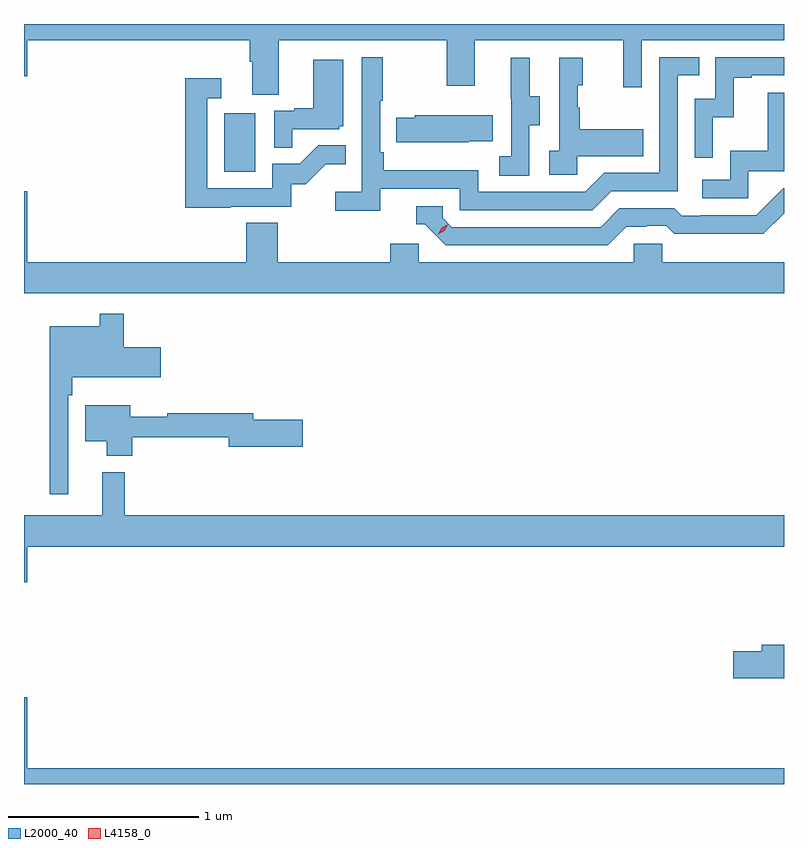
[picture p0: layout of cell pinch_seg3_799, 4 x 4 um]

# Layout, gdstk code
import gdstk
lib = gdstk.Library(unit=1e-6, precision=1e-09)
def R(c, l, rs):  # rectangles x0, y0, x1, y1
    for r in rs: c.add(gdstk.rectangle(r[:2], r[2:], *l))
def P(c, l, *ps):  # polygons
    for p in ps: c.add(gdstk.Polygon(p, *l))
L2000_40 = (2000, 40)
L4158_0 = (4158, 0)

pinch_seg3_799 = lib.new_cell('pinch_seg3_799')
R(pinch_seg3_799, L2000_40, [(861.512,717.54,861.676,717.847)])
P(pinch_seg3_799, L2000_40, [(861.799,718.232),(862.684,718.232),(862.684,717.993),(862.831,717.993),(862.831,718.232),(863.612,718.232),(863.612,717.984),(863.709,717.984),(863.709,718.232),(864.458,718.232),(864.458,718.318),(860.458,718.318),(860.458,718.044),(860.476,718.044),(860.476,718.232),(861.647,718.232),(861.647,718.12),(861.659,718.12),(861.659,717.946),(861.799,717.946)],
  [(862.334,717.45),(862.752,717.45),(862.752,717.339),(863.449,717.339),(863.548,717.438),(863.898,717.438),(863.898,718.047),(864.011,718.047),(864.011,718.143),(863.802,718.143),(863.802,717.534),(863.511,717.534),(863.412,717.435),(862.848,717.435),(862.848,717.547),(862.352,717.547),(862.352,717.643),(862.332,717.643),(862.332,717.913),(862.345,717.913),(862.345,718.144),(862.236,718.144),(862.236,717.436),(862.095,717.436),(862.095,717.334),(862.334,717.334)],
  [(864.084,717.827),(864.194,717.827),(864.194,718.035),(864.289,718.035),(864.289,718.047),(864.458,718.047),(864.458,718.143),(864.096,718.143),(864.096,717.924),(863.988,717.924),(863.988,717.615),(864.084,717.615)],
  [(863.118,717.784),(863.173,717.784),(863.173,717.939),(863.119,717.939),(863.119,718.141),(863.021,718.141),(863.021,717.927),(863.022,717.927),(863.022,717.623),(862.959,717.623),(862.959,717.52),(863.118,717.52)],
  [(863.37,717.623),(863.717,717.623),(863.717,717.763),(863.383,717.763),(863.383,717.878),(863.373,717.878),(863.373,717.996),(863.398,717.996),(863.398,718.141),(863.274,718.141),(863.274,717.65),(863.223,717.65),(863.223,717.525),(863.37,717.525)],
  [(861.869,717.765),(862.116,717.765),(862.116,717.78),(862.138,717.78),(862.138,718.129),(861.98,718.129),(861.98,717.874),(861.881,717.874),(861.881,717.861),(861.774,717.861),(861.774,717.667),(861.869,717.667)],
  [(861.545,717.357),(861.864,717.357),(861.864,717.474),(861.94,717.474),(862.047,717.581),(862.151,717.581),(862.151,717.68),(862.007,717.68),(861.909,717.582),(861.765,717.582),(861.765,717.453),(861.423,717.453),(861.423,717.927),(861.496,717.927),(861.496,718.033),(861.307,718.033),(861.307,717.352),(861.545,717.352)],
  [(864.27,717.543),(864.458,717.543),(864.458,717.955),(864.373,717.955),(864.373,717.652),(864.174,717.652),(864.174,717.498),(864.027,717.498),(864.027,717.402),(864.27,717.402)],
  [(862.8,717.701),(862.925,717.701),(862.925,717.838),(862.515,717.838),(862.515,717.825),(862.417,717.825),(862.417,717.695),(862.8,717.695)],
  [(863.629,717.252),(863.736,717.252),(863.736,717.255),(863.839,717.255),(863.881,717.213),(864.114,717.213),(864.114,717.215),(864.35,717.215),(864.458,717.323),(864.458,717.453),(864.453,717.453),(864.312,717.312),(864.019,717.312),(864.019,717.309),(863.92,717.309),(863.881,717.348),(863.592,717.348),(863.493,717.249),(862.71,717.249),(862.662,717.297),(862.662,717.36),(862.523,717.36),(862.523,717.264),(862.566,717.264),(862.677,717.153),(863.53,717.153)],
  [(864.458,717.064),(863.817,717.064),(863.817,717.162),(863.667,717.162),(863.667,717.064),(862.536,717.064),(862.536,717.162),(862.385,717.162),(862.385,717.064),(861.794,717.064),(861.794,717.272),(861.629,717.272),(861.629,717.064),(860.476,717.064),(860.476,717.439),(860.458,717.439),(860.458,716.9),(864.458,716.9)],
  [(860.691,716.363),(860.711,716.363),(860.711,716.459),(861.178,716.459),(861.178,716.617),(860.984,716.617),(860.984,716.794),(860.856,716.794),(860.856,716.728),(860.594,716.728),(860.594,715.842),(860.691,715.842)],
  [(861.029,716.142),(861.536,716.142),(861.536,716.092),(861.925,716.092),(861.925,716.234),(861.664,716.234),(861.664,716.27),(861.212,716.27),(861.212,716.252),(861.016,716.252),(861.016,716.311),(860.78,716.311),(860.78,716.123),(860.894,716.123),(860.894,716.045),(861.029,716.045)],
  [(860.476,715.568),(864.458,715.568),(864.458,715.732),(860.987,715.732),(860.987,715.96),(860.87,715.96),(860.87,715.732),(860.458,715.732),(860.458,715.38),(860.476,715.38)],
  [(864.458,715.052),(864.341,715.052),(864.341,715.016),(864.192,715.016),(864.192,714.874),(864.458,714.874)],
  [(864.458,714.4),(860.476,714.4),(860.476,714.775),(860.458,714.775),(860.458,714.318),(864.458,714.318)])
P(pinch_seg3_799, L4158_0, [(862.639,717.211),(862.639,717.211),(862.655,717.243),(862.686,717.262),(862.687,717.262),(862.687,717.262),(862.67,717.23),(862.639,717.211)])

lib.write_gds('pinch_seg3_799.gds')
